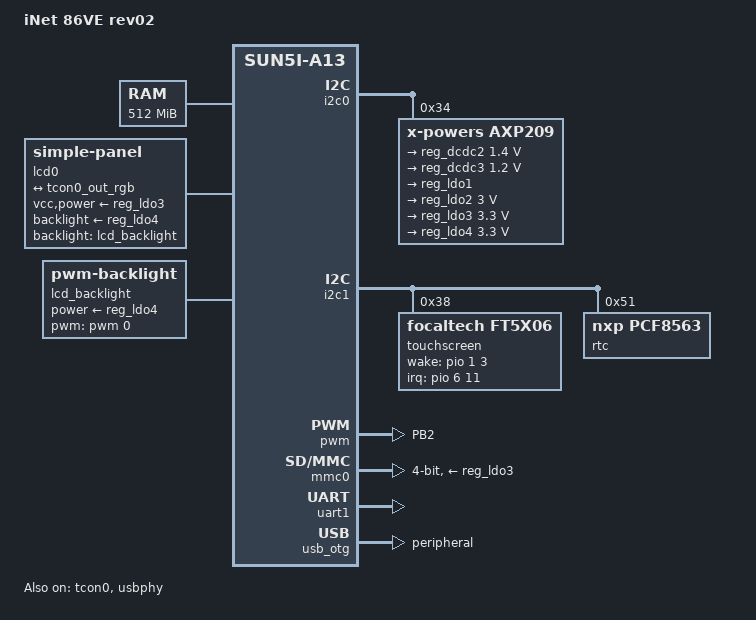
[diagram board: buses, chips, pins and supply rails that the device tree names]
// SPDX-License-Identifier: GPL-2.0+ OR X11
/*
 * Copyright 2024-2025 Gemini & Community
 * DTS file for iNet 86VE rev02 - Reference Configuration
 */

/dts-v1/;
#include "sun5i-a13.dtsi"
#include "sunxi-common-regulators.dtsi"

#include <dt-bindings/gpio/gpio.h>
#include <dt-bindings/input/input.h>
#include <dt-bindings/interrupt-controller/irq.h>

/ {
	model = "iNet 86VE rev02";
	compatible = "inet,86ve-rev02", "inet,86vs", "allwinner,sun5i-a13";

	aliases {
		serial0 = &uart1;
		mmc0 = &mmc0;
		i2c0 = &i2c0;
	};

	chosen {
		stdout-path = "serial0:115200n8";
	};

	memory@40000000 {
		device_type = "memory";
		reg = <0x40000000 0x20000000>; /* 512 MB */
	};

	lcd0: lcd-panel {
		compatible = "simple-panel";
		status = "okay";

		vcc-supply = <&reg_ldo3>;
		backlight-supply = <&reg_ldo4>;
		power-supply = <&reg_ldo3>;

		backlight = <&lcd_backlight>;

		display-timings {
			native-mode = <&tim0>;

			tim0: resolution0 {
				clock-frequency = <33000000>;    /* 33 MHz */
				hactive        = <800>;
				vactive        = <480>;

				/* Use minimum 1 for sync widths (FEX had 0) */
				hsync-len      = <1>;
				hback-porch    = <46>;
				hfront-porch   = <208>;  /* 1055 - 800 - 46 - 1 */

				vsync-len      = <1>;
				vback-porch    = <23>;
				vfront-porch   = <546>;  /* 1050 - 480 - 23 - 1 */

				/* polarities: adjust if needed */
				hsync-active   = <0>;
				vsync-active   = <0>;
				de-active      = <1>;
				pixelclk-active= <0>;
			};
		};
	};
    
	lcd_backlight: backlight {
		compatible = "pwm-backlight";
		/* &pwm phandle, channel 0, period 100000 ns (10kHz), flags=0 (normal/high) */
		pwms = <&pwm 0 100000 0>;
		brightness-levels = <0 10 30 60 120 255>;
		default-brightness = <5>;
		power-supply = <&reg_ldo4>;
		status = "okay";
	};
};

&lcd0 {
	port {
		panel_in: endpoint {
			remote-endpoint = <&tcon0_out_rgb>;
		};
	};
};

&cpu0 {
	cpu-supply = <&reg_dcdc2>;
};

&i2c0 {
	status = "okay";

	axp209: pmic@34 {
		compatible = "x-powers,axp209";
		reg = <0x34>;
		interrupts = <0>;
		interrupt-controller;
		#interrupt-cells = <1>;

		regulators {
			reg_dcdc2: dcdc2 {
				regulator-name = "dcdc2"; // core_vdd
				regulator-fixed-microvolt = <1400000>;
				regulator-min-microvolt = <1400000>;
				regulator-max-microvolt = <1400000>;
				regulator-boot-on;
			};
			reg_dcdc3: dcdc3 {
				regulator-name = "dcdc3";
				regulator-fixed-microvolt = <1200000>;
				regulator-min-microvolt = <1200000>;
				regulator-max-microvolt = <1200000>;
				regulator-boot-on;
				regulator-always-on;
			};
			reg_ldo1: ldo1 {
				regulator-name = "ldo1";
				regulator-always-on;
			};
			reg_ldo2: ldo2 {
				regulator-name = "ldo2";
				regulator-fixed-microvolt = <3000000>;
				regulator-min-microvolt = <3000000>;
				regulator-max-microvolt = <3000000>;
				regulator-always-on;
			};
			reg_ldo3: ldo3 {
				regulator-name = "ldo3";
				regulator-fixed-microvolt = <3300000>;
				regulator-min-microvolt = <3300000>;
				regulator-max-microvolt = <3300000>;
				regulator-boot-on;
			};
			reg_ldo4: ldo4 {
				regulator-name = "ldo4";
				regulator-fixed-microvolt = <3300000>;
				regulator-min-microvolt = <3300000>;
				regulator-max-microvolt = <3300000>;
				regulator-boot-on;
				regulator-always-on;
			};
		};
	};
};

&i2c1 {
	status = "okay";
	pinctrl-names = "default";
	pinctrl-0 = <&i2c1_pins>;

	touchscreen@38 {
		compatible = "focaltech,ft5x06";
		reg = <0x38>;
		interrupt-parent = <&pio>;
		interrupts = <6 11 IRQ_TYPE_EDGE_FALLING>; /* PG11 */
		wake-gpios = <&pio 1 3 GPIO_ACTIVE_HIGH>; /* PB3 */
		touchscreen-size-x = <800>;
		touchscreen-size-y = <480>;
	};

	/* RTC: PCF8563 (from board script.txt: rtc_twi_addr = 81 decimal = 0x51) */
	rtc: pcf8563@51 {
		compatible = "nxp,pcf8563";
		reg = <0x51>;
		status = "okay";
	};
};

&tcon0 { 
	status = "okay";
	pinctrl-names = "default";
	pinctrl-0 = <&lcd_rgb_pins &lcd_clk_pins &lcd_ctrl_pins>;

	ports {
		#address-cells = <1>;
		#size-cells = <0>;

		tcon0_out: port@1 {
			reg = <1>;
			tcon0_out_rgb: endpoint {
				remote-endpoint = <&panel_in>;
			};
		};
	};
};

&pwm {
	pinctrl-names = "default";
	pinctrl-0 = <&pb02_pwm_pin>;
	status = "okay";
	clocks = <&osc24M>;
};

&mmc0 {
	pinctrl-names = "default";
	pinctrl-0 = <&mmc0_pins>;
	vmmc-supply = <&reg_ldo3>;
	bus-width = <4>;
	broken-cd;
	disable-wp;
	status = "okay";
};

&uart1 {
	pinctrl-names = "default";
	pinctrl-0 = <&uart1_pg_pins>;
	status = "okay";
};

&usb_otg {
	dr_mode = "peripheral";
	status = "okay";
};

&usbphy {
	status = "okay";
};

&pio {
	lcd_rgb_pins: lcd-rgb-pins {
		pins = "PD0","PD1","PD2","PD3","PD4","PD5","PD6","PD7",
		       "PD8","PD9","PD10","PD11","PD12","PD13","PD14","PD15",
		       "PD16","PD17","PD18","PD19","PD20","PD21","PD22","PD23";
		function = "lcd0";
	};

	lcd_clk_pins: lcd-clk {
		pins = "PD24";
		function = "lcd0";
	};

	lcd_ctrl_pins: lcd-ctrl {
		pins = "PD25","PD26","PD27";
		function = "lcd0";
	};

	pb02_pwm_pin: pb02-pwm {
		pins = "PB2";
		function = "pwm0";
	};
};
